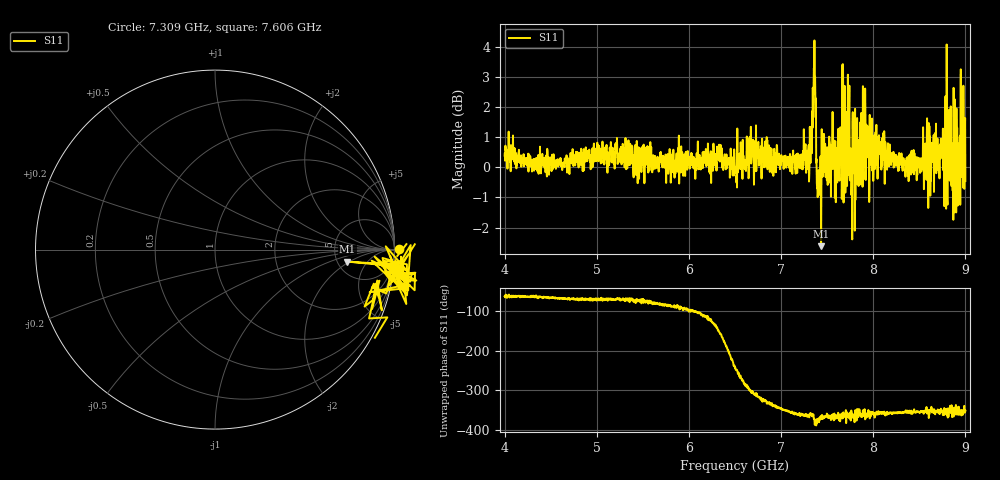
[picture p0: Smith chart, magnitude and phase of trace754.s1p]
! Created with skrf 1.8.0 (http://scikit-rf.org).
# Hz S RI R 50.0
!freq ReS11 ImS11
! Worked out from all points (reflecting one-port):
!   1601 points, 4 GHz to 9 GHz, reference 50 ohm
!   lowest |S11| = -2.6 dB at 7.434 GHz (marker M1), VSWR 6.68, Z = 307 - j90.6 ohm
!   phase of S11 starts at -62 deg and turns -290 deg over the sweep
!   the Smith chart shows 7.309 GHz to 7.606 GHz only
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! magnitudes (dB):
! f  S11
! 4 GHz  0.4
! 4.625 GHz  -0.1
! 5.25 GHz  0.2
! 5.875 GHz  0.1
! 6.331 GHz  0.5
! 6.5 GHz  0.0
! 6.678 GHz  0.2
! 7.125 GHz  0.4
! 7.294 GHz  -0.1
! 7.316 GHz  0.6
! 7.353 GHz  2.7
! 7.369 GHz  3.0
! 7.409 GHz  -0.7
! 7.434 GHz  -2.6
! 7.466 GHz  1.1
! 7.494 GHz  -0.1
! 7.547 GHz  0.2
! 7.609 GHz  -0.5
! 7.669 GHz  0.2
! 7.75 GHz  -0.1
! 7.825 GHz  1.6
! 7.891 GHz  -0.1
! 7.981 GHz  0.1
! 8.375 GHz  -0.1
! 8.822 GHz  0.7
! 8.875 GHz  0.8
! 8.972 GHz  0.7
! 9 GHz  -0.5
